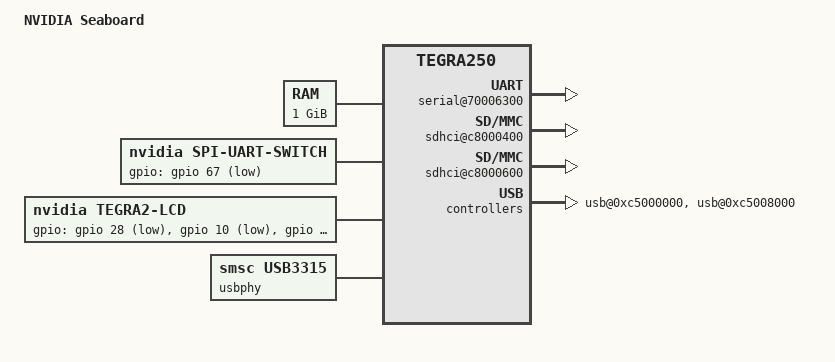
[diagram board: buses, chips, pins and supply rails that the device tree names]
/dts-v1/;

/memreserve/ 0x1c000000 0x04000000;
/include/ "../../../arch/arm/cpu/armv7/tegra2/tegra250.dtsi"

/ {
	model = "NVIDIA Seaboard";
	compatible = "nvidia,seaboard", "nvidia,tegra250";

	config {
		silent_console = <0>;
		odmdata = <0x300d8011>;
	};

	aliases {
		console = "/serial@70006300";
                usb0 = "/usb@0xc5008000";
                usb1 = "/usb@0xc5000000";

		sdmmc0 = "/sdhci@c8000600";
		sdmmc1 = "/sdhci@c8000400";
	};

	chosen {
		bootargs = "";
	};

	memory {
		device_type = "memory";
		reg = <0x00000000 0x40000000>;
	};

	serial@70006300 {
		status = "ok";
		clock-frequency = <216000000>;
	};

	/*
	 * Seaboard has a switch on GPIO67 which affects this UART. Until
	 * pinmux support is added to the FDT it is not clear how to do this,
	 * so this is a stop-gap.
	 */
	switch {
		compatible = "nvidia,spi-uart-switch";
		uart = <&uart3>;

		/* Parameter 3 bit 0:1=output, 0=input; bit 1:1=high, 0=low */
		gpios = <&gpio 67 1>; /* Port I = 8 bit = 3: 8 * 8 + 3 */
	};

	sdhci@c8000400 {
		status = "ok";
		width = <4>;	/* width of SDIO port */
		/* Parameter 3 bit 0:1=output, 0=input; bit 1:1=high, 0=low */
		cd-gpio = <&gpio 69 0>; /* card detect, gpio PI5 */
		wp-gpio = <&gpio 57 0>; /* write protect, gpio PH1 */
		power-gpio = <&gpio 70 3>; /* power enable, gpio PI6 */
	};

	sdhci@c8000600 {
		status = "ok";
		width = <4>;	/* width of SDIO port */
	};

	lcd {
		compatible = "nvidia,tegra2-lcd";
		width = <1366>;
		height = <768>;
		bits_per_pixel = <16>;
		pwfm = <&pwfm2>;
		display = <&display1>;
		frame-buffer = <0x1C022000>;

		pixel_clock = <62200000>;

		/* Timing: ref_to_sync, sync_width. back_porch, front_porch */
		horiz_timing = <11 58 58 58>;
		vert_timing = <1 4 4 4>;

		/* Parameter 3 bit 0:1=output, 0=input; bit 1:1=high, 0=low */
		gpios = <&gpio 28 3>,	/* backlight PD4 */
			<&gpio 10 3>,	/* lvds shutdown PB2 */
			<&gpio 176 3>,	/* backlight vdd PW0 */
			<&gpio 22 3>;	/* enable vdd pnl PC6 */
	};

	usb@0xc5000000 {
		status = "ok";
		host-mode = <1>;
	};

	usbphy: usbphy@0 {
		compatible = "smsc,usb3315";
		status = "ok";
	};

	usb@0xc5008000 {
		status = "ok";
		utmi = <&usbphy>;
		host-mode = <0>;
	};
};
